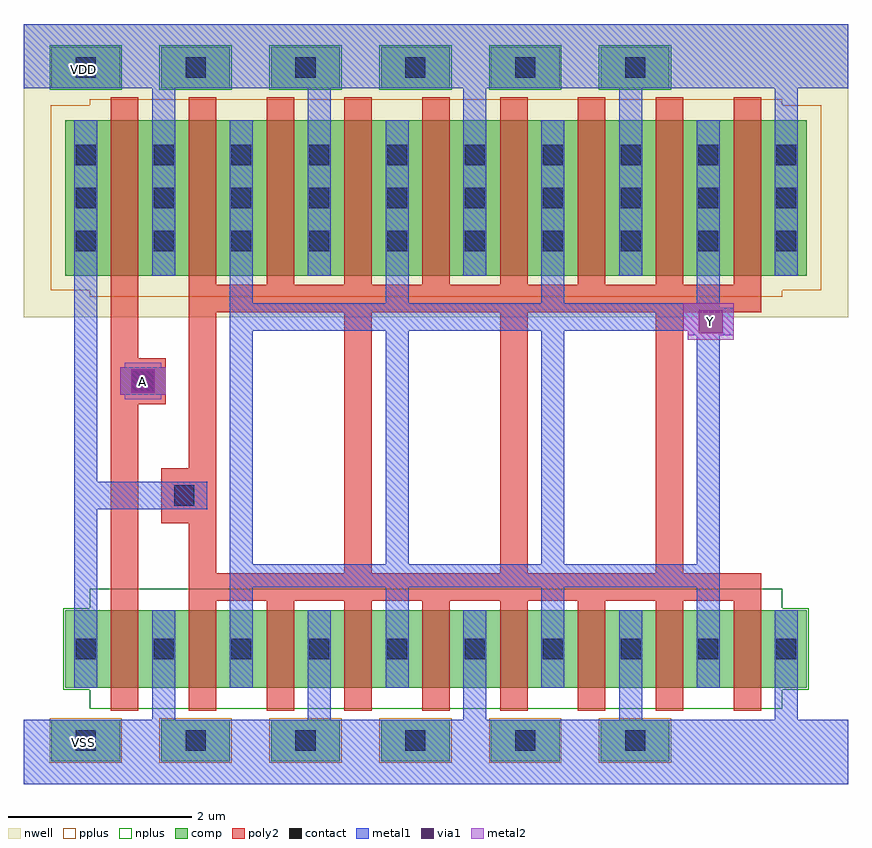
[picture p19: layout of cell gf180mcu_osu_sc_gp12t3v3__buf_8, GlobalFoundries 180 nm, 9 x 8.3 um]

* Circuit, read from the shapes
.subckt gf180mcu_osu_sc_gp12t3v3__buf_8 A VDD VSS Y
XM1 VSS A n1 VSS nfet_03v3 w=0.85u l=0.3u
XM2 Y n1 VSS VSS nfet_03v3 w=0.85u l=0.3u m=8
XM3 VDD A n1 VDD pfet_03v3 w=1.7u l=0.3u
XM4 Y n1 VDD VDD pfet_03v3 w=1.7u l=0.3u m=8
.ends

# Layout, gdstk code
import gdstk
lib = gdstk.Library(unit=1e-6, precision=1e-09)
def R(c, l, rs):  # rectangles x0, y0, x1, y1
    for r in rs: c.add(gdstk.rectangle(r[:2], r[2:], *l))
def A(c, l, x, y, w, h, nx, ny, dx, dy):  # array of equal rectangles
    R(c, l, [(x+i*dx, y+j*dy, x+i*dx+w, y+j*dy+h) for i in range(nx) for j in range(ny)])
nwell = (21, 0)
comp = (22, 0)
poly2 = (30, 0)
pplus = (31, 0)
nplus = (32, 0)
contact = (33, 0)
metal1 = (34, 0)
via1 = (35, 0)
metal2 = (36, 0)

gf180mcu_osu_sc_gp12t3v3 = lib.new_cell('gf180mcu_osu_sc_gp12t3v3__buf_8')
R(gf180mcu_osu_sc_gp12t3v3, nwell, [(0,5.1,9,8.3)])
A(gf180mcu_osu_sc_gp12t3v3, comp, 0.3, 0.25, 0.75, 0.45, 6, 2, 1.2, 7.35)
R(gf180mcu_osu_sc_gp12t3v3, comp, [(0.45,1.05,8.55,1.9), (0.45,5.55,8.55,7.25)])
A(gf180mcu_osu_sc_gp12t3v3, poly2, 1.8, 0.8, 0.3, 1.2, 8, 1, 0.85, 0)
A(gf180mcu_osu_sc_gp12t3v3, poly2, 3.5, 2.3, 0.3, 2.85, 3, 1, 1.7, 0)
A(gf180mcu_osu_sc_gp12t3v3, poly2, 1.8, 5.45, 0.3, 2.05, 8, 1, 0.85, 0)
R(gf180mcu_osu_sc_gp12t3v3, poly2, [(0.95,0.8,1.25,4.15), (1.8,2,8.05,2.3), (1.8,2.3,2.1,2.85), (1.5,2.85,2.1,3.45), (1.8,3.45,2.1,5.15), (0.95,4.15,1.55,4.65), (0.95,4.65,1.25,7.5), (1.8,5.15,8.05,5.45)])
A(gf180mcu_osu_sc_gp12t3v3, pplus, 0.28, 0.23, 0.79, 0.49, 6, 1, 1.2, 0)
R(gf180mcu_osu_sc_gp12t3v3, pplus, [(0.72,5.32,8.28,5.39), (0.29,5.39,8.71,7.41), (0.72,7.41,8.28,7.48)])
A(gf180mcu_osu_sc_gp12t3v3, nplus, 0.28, 7.58, 0.79, 0.49, 6, 1, 1.2, 0)
R(gf180mcu_osu_sc_gp12t3v3, nplus, [(0.72,0.82,8.28,1.03), (0.43,1.03,8.57,1.92), (0.72,1.92,8.28,2.13)])
A(gf180mcu_osu_sc_gp12t3v3, contact, 0.565, 0.365, 0.22, 0.22, 6, 2, 1.2, 7.35)
A(gf180mcu_osu_sc_gp12t3v3, contact, 0.565, 1.365, 0.22, 0.22, 10, 2, 0.85, 4.455)
A(gf180mcu_osu_sc_gp12t3v3, contact, 0.565, 6.29, 0.22, 0.22, 10, 2, 0.85, 0.47)
R(gf180mcu_osu_sc_gp12t3v3, contact, [(1.64,3.04,1.86,3.26), (1.19,4.29,1.41,4.51)])
A(gf180mcu_osu_sc_gp12t3v3, metal1, 1.4, 0.7, 0.25, 1.2, 5, 1, 1.7, 0)
A(gf180mcu_osu_sc_gp12t3v3, metal1, 2.25, 1.05, 0.25, 1.1, 4, 1, 1.7, 0)
A(gf180mcu_osu_sc_gp12t3v3, metal1, 2.25, 2.4, 0.25, 2.55, 3, 1, 1.7, 0)
A(gf180mcu_osu_sc_gp12t3v3, metal1, 2.25, 5.25, 0.25, 2, 4, 1, 1.7, 0)
A(gf180mcu_osu_sc_gp12t3v3, metal1, 1.4, 5.55, 0.25, 2.05, 5, 1, 1.7, 0)
R(gf180mcu_osu_sc_gp12t3v3, metal1, [(0,0,9,0.7), (0.55,1.05,0.8,3), (2.25,2.15,7.6,2.4), (7.35,2.4,7.6,4.9), (0.55,3,2,3.3), (0.55,3.3,0.8,7.25), (1.05,4.25,1.55,4.55), (7.25,4.9,7.75,4.95), (2.25,4.95,7.75,5.2), (2.25,5.2,7.6,5.25), (0,7.6,9,8.3)])
R(gf180mcu_osu_sc_gp12t3v3, via1, [(1.17,4.27,1.43,4.53), (7.37,4.92,7.63,5.18)])
R(gf180mcu_osu_sc_gp12t3v3, metal2, [(1.1,4.2,1.5,4.25), (1.05,4.25,1.55,4.55), (1.1,4.55,1.5,4.6), (7.25,4.85,7.75,4.95), (7.2,4.95,7.75,5.25)])
gf180mcu_osu_sc_gp12t3v3.add(gdstk.Label('A', (1.3,4.4), layer=36, texttype=10))
gf180mcu_osu_sc_gp12t3v3.add(gdstk.Label('Y', (7.5,5.05), layer=36, texttype=10))
gf180mcu_osu_sc_gp12t3v3.add(gdstk.Label('VDD', (0.65,7.8), layer=34, texttype=10))
gf180mcu_osu_sc_gp12t3v3.add(gdstk.Label('VSS', (0.65,0.45), layer=34, texttype=10))

lib.write_gds('gf180mcu_osu_sc_gp12t3v3__buf_8.gds')
